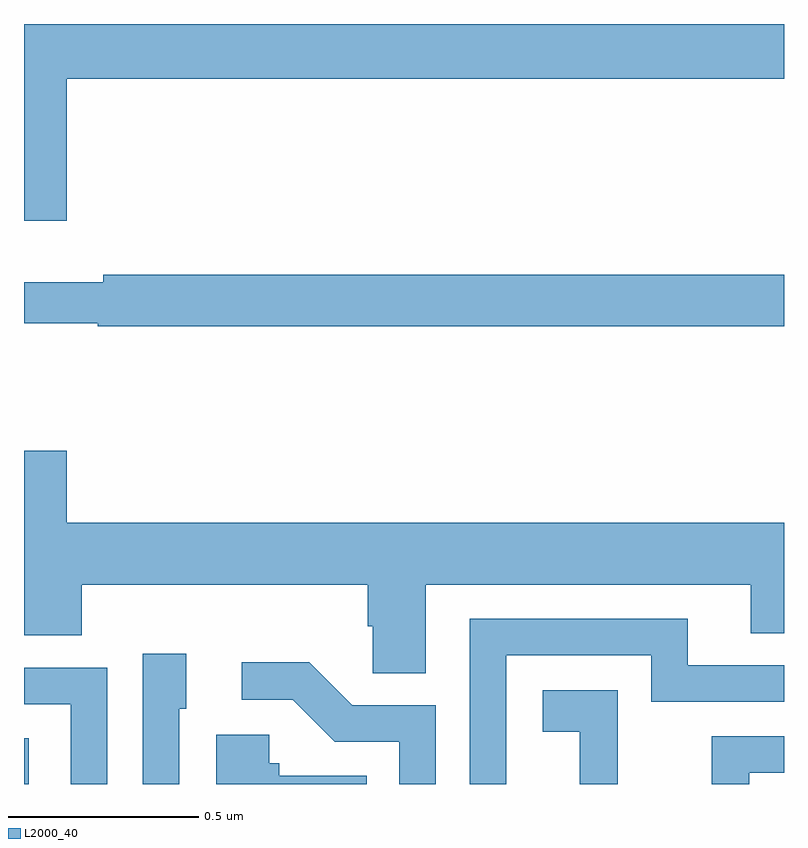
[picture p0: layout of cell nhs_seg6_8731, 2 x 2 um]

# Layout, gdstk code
import gdstk
lib = gdstk.Library(unit=1e-6, precision=1e-09)
def R(c, l, rs):  # rectangles x0, y0, x1, y1
    for r in rs: c.add(gdstk.rectangle(r[:2], r[2:], *l))
def P(c, l, *ps):  # polygons
    for p in ps: c.add(gdstk.Polygon(p, *l))
L2000_40 = (2000, 40)

nhs_seg6_8731 = lib.new_cell('nhs_seg6_8731')
R(nhs_seg6_8731, L2000_40, [(225,925.5,225.013,925.621)])
P(nhs_seg6_8731, L2000_40, [(225.112,927.356),(227,927.356),(227,927.5),(225,927.5),(225,926.982),(225.112,926.982)],
  [(227,926.84),(225.208,926.84),(225.208,926.821),(225,926.821),(225,926.712),(225.194,926.712),(225.194,926.704),(227,926.704)],
  [(226.057,926.024),(226.913,926.024),(226.913,925.897),(227,925.897),(227,926.188),(225.112,926.188),(225.112,926.377),(225,926.377),(225,925.891),(225.152,925.891),(225.152,926.024),(225.905,926.024),(225.905,925.915),(225.918,925.915),(225.918,925.792),(226.057,925.792)],
  [(226.269,925.839),(226.65,925.839),(226.65,925.716),(227,925.716),(227,925.812),(226.747,925.812),(226.747,925.935),(226.173,925.935),(226.173,925.5),(226.269,925.5)],
  [(225.408,925.698),(225.427,925.698),(225.427,925.843),(225.312,925.843),(225.312,925.5),(225.408,925.5)],
  [(226.083,925.707),(225.864,925.707),(225.751,925.82),(225.573,925.82),(225.573,925.722),(225.707,925.722),(225.818,925.611),(225.987,925.611),(225.987,925.5),(226.083,925.5)],
  [(225.219,925.806),(225,925.806),(225,925.71),(225.123,925.71),(225.123,925.5),(225.219,925.5)],
  [(226.562,925.541),(226.563,925.541),(226.563,925.747),(226.365,925.747),(226.365,925.637),(226.463,925.637),(226.463,925.5),(226.562,925.5)],
  [(225.902,925.522),(225.672,925.522),(225.672,925.554),(225.645,925.554),(225.645,925.63),(225.506,925.63),(225.506,925.5),(225.902,925.5)],
  [(226.908,925.53),(227,925.53),(227,925.626),(226.81,925.626),(226.81,925.5),(226.908,925.5)])

lib.write_gds('nhs_seg6_8731.gds')
